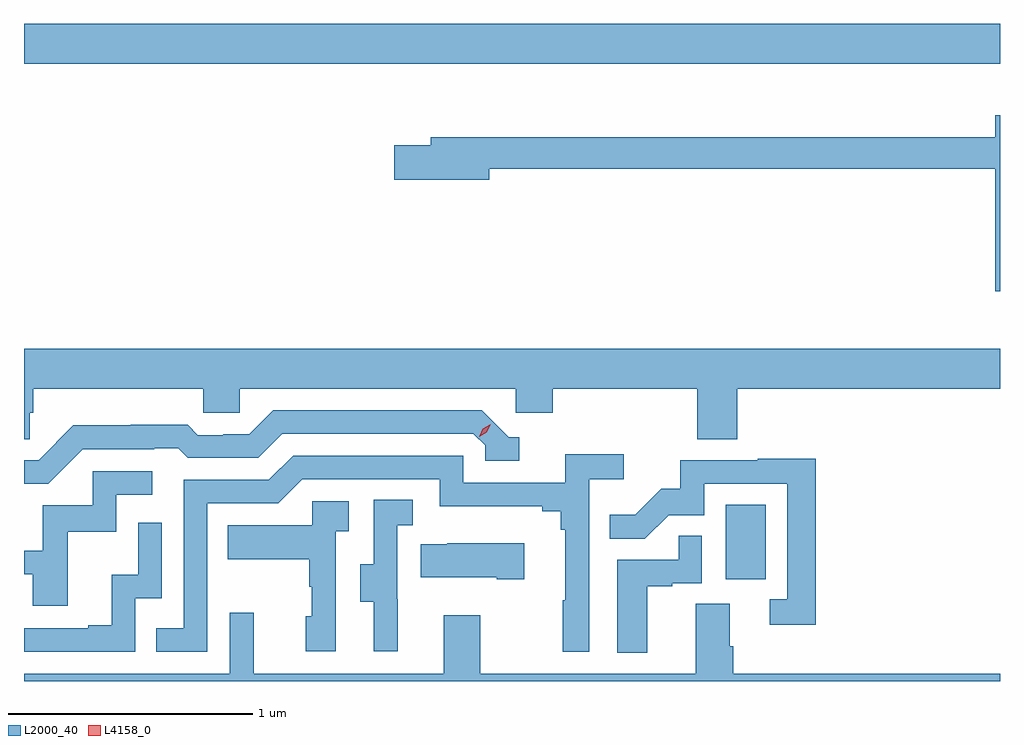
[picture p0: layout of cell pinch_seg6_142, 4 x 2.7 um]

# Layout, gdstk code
import gdstk
lib = gdstk.Library(unit=1e-6, precision=1e-09)
def R(c, l, rs):  # rectangles x0, y0, x1, y1
    for r in rs: c.add(gdstk.rectangle(r[:2], r[2:], *l))
def P(c, l, *ps):  # polygons
    for p in ps: c.add(gdstk.Polygon(p, *l))
L2000_40 = (2000, 40)
L4158_0 = (4158, 0)

pinch_seg6_142 = lib.new_cell('pinch_seg6_142')
R(pinch_seg6_142, L2000_40, [(962.564,915.918,962.728,916.225), (959.688,918.032,963.688,918.196)])
P(pinch_seg6_142, L2000_40, [(963.688,917.821),(963.668,917.821),(963.668,917.731),(961.355,917.731),(961.355,917.697),(961.206,917.697),(961.206,917.555),(961.594,917.555),(961.594,917.602),(963.668,917.602),(963.668,917.1),(963.688,917.1)],
  [(959.711,916.602),(959.726,916.602),(959.726,916.7),(960.423,916.7),(960.423,916.602),(960.573,916.602),(960.573,916.7),(961.704,916.7),(961.704,916.602),(961.856,916.602),(961.856,916.7),(962.447,916.7),(962.447,916.492),(962.612,916.492),(962.612,916.7),(963.688,916.7),(963.688,916.864),(959.688,916.864),(959.688,916.492),(959.711,916.492)],
  [(959.928,916.452),(960.221,916.452),(960.221,916.455),(960.32,916.455),(960.359,916.416),(960.648,916.416),(960.747,916.515),(961.53,916.515),(961.578,916.467),(961.578,916.404),(961.717,916.404),(961.717,916.5),(961.674,916.5),(961.563,916.611),(960.71,916.611),(960.611,916.512),(960.504,916.512),(960.504,916.509),(960.401,916.509),(960.359,916.552),(960.126,916.552),(960.126,916.549),(959.89,916.549),(959.748,916.407),(959.688,916.407),(959.688,916.311),(959.787,916.311)],
  [(960.438,916.23),(960.729,916.23),(960.828,916.329),(961.392,916.329),(961.392,916.217),(961.811,916.217),(961.811,916.198),(961.888,916.198),(961.888,916.121),(961.907,916.121),(961.907,915.833),(961.896,915.833),(961.896,915.621),(962.004,915.621),(962.004,916.328),(962.146,916.328),(962.146,916.43),(961.907,916.43),(961.907,916.314),(961.488,916.314),(961.488,916.425),(960.791,916.425),(960.692,916.326),(960.342,916.326),(960.342,915.717),(960.229,915.717),(960.229,915.621),(960.438,915.621)],
  [(962.933,916.412),(962.695,916.412),(962.695,916.407),(962.377,916.407),(962.377,916.29),(962.3,916.29),(962.193,916.183),(962.089,916.183),(962.089,916.084),(962.232,916.084),(962.33,916.182),(962.475,916.182),(962.475,916.311),(962.817,916.311),(962.817,915.837),(962.745,915.837),(962.745,915.732),(962.933,915.732)],
  [(959.867,916.113),(960.066,916.113),(960.066,916.266),(960.214,916.266),(960.214,916.362),(959.97,916.362),(959.97,916.221),(959.765,916.221),(959.765,916.035),(959.688,916.035),(959.688,915.939),(959.723,915.939),(959.723,915.81),(959.867,915.81)],
  [(961.22,915.837),(961.218,915.837),(961.218,916.141),(961.282,916.141),(961.282,916.244),(961.122,916.244),(961.122,915.981),(961.067,915.981),(961.067,915.826),(961.121,915.826),(961.121,915.624),(961.22,915.624)],
  [(960.966,916.115),(961.018,916.115),(961.018,916.239),(960.87,916.239),(960.87,916.141),(960.523,916.141),(960.523,916.001),(960.858,916.001),(960.858,915.887),(960.868,915.887),(960.868,915.768),(960.842,915.768),(960.842,915.624),(960.966,915.624)],
  [(960.144,915.84),(960.252,915.84),(960.252,916.15),(960.156,916.15),(960.156,915.938),(960.047,915.938),(960.047,915.73),(959.951,915.73),(959.951,915.717),(959.688,915.717),(959.688,915.621),(960.144,915.621)],
  [(962.242,915.891),(962.345,915.891),(962.345,915.903),(962.466,915.903),(962.466,916.097),(962.371,916.097),(962.371,915.999),(962.12,915.999),(962.12,915.617),(962.242,915.617)],
  [(961.738,916.066),(961.423,916.066),(961.423,916.063),(961.315,916.063),(961.315,915.926),(961.625,915.926),(961.625,915.919),(961.738,915.919)],
  [(963.688,915.532),(962.594,915.532),(962.594,915.644),(962.581,915.644),(962.581,915.818),(962.441,915.818),(962.441,915.532),(961.557,915.532),(961.557,915.772),(961.409,915.772),(961.409,915.532),(960.629,915.532),(960.629,915.781),(960.531,915.781),(960.531,915.532),(959.688,915.532),(959.688,915.5),(963.688,915.5)])
P(pinch_seg6_142, L4158_0, [(961.553,916.502),(961.553,916.502),(961.569,916.535),(961.6,916.554),(961.6,916.554),(961.6,916.554),(961.584,916.521),(961.553,916.502)])

lib.write_gds('pinch_seg6_142.gds')
